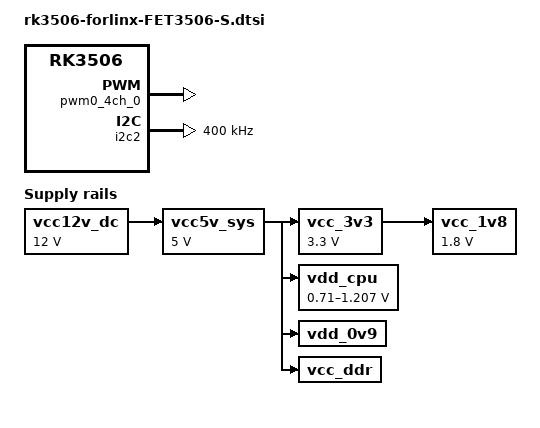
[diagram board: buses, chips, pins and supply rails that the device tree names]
// SPDX-License-Identifier: (GPL-2.0+ OR MIT)
/*
 * Copyright (c) 2024 Rockchip Electronics Co., Ltd.
 */

#include "rk3506.dtsi"

/ {
	vcc12v_dc: vcc12v-dc {
		compatible = "regulator-fixed";
		regulator-name = "vcc12v_dc";
		regulator-always-on;
		regulator-boot-on;
		regulator-min-microvolt = <12000000>;
		regulator-max-microvolt = <12000000>;
	};

	vcc5v_sys: vcc5v-sys {
		compatible = "regulator-fixed";
		regulator-name = "vcc5v_sys";
		regulator-always-on;
		regulator-boot-on;
		regulator-min-microvolt = <5000000>;
		regulator-max-microvolt = <5000000>;
		vin-supply = <&vcc12v_dc>;
	};

	vcc_3v3: vcc-3v3 {
		compatible = "regulator-fixed";
		regulator-name = "vcc_3v3";
		regulator-always-on;
		regulator-boot-on;
		regulator-min-microvolt = <3300000>;
		regulator-max-microvolt = <3300000>;
		vin-supply = <&vcc5v_sys>;
	};

	vcc_1v8: vcc-1v8 {
		compatible = "regulator-fixed";
		regulator-name = "vcc_1v8";
		regulator-always-on;
		regulator-boot-on;
		regulator-min-microvolt = <1800000>;
		regulator-max-microvolt = <1800000>;
		vin-supply = <&vcc_3v3>;
	};

	vdd_cpu: vdd-cpu {
		compatible = "pwm-regulator";
		pwms = <&pwm0_4ch_0 0 5000 1>;
		regulator-name = "vdd_cpu";
		regulator-min-microvolt = <710000>;
		regulator-max-microvolt = <1207000>;
		regulator-init-microvolt = <1011000>;
		regulator-always-on;
		regulator-boot-on;
		regulator-settling-time-up-us = <250>;
		vin-supply = <&vcc5v_sys>;
	};

	vdd_0v9: vdd-0v9 {
		compatible = "regulator-fixed";
		regulator-name = "vdd_0v9";
		regulator-always-on;
		regulator-boot-on;
		vin-supply = <&vcc5v_sys>;
	};

	vcc_ddr: vcc-ddr {
		compatible = "regulator-fixed";
		regulator-name = "vcc_ddr";
		regulator-always-on;
		regulator-boot-on;
		vin-supply = <&vcc5v_sys>;
	};
};

&cpu0 {
	cpu-supply = <&vdd_cpu>;
};

&cma {
	size = <0x1600000>;
};

&pwm0_4ch_0 {
	pinctrl-names = "active";
	pinctrl-0 = <&rm_io21_pwm0_ch0>;
	status = "okay";
};

&i2c2 {
	clock-frequency = <400000>;
	pinctrl-names = "default";
	pinctrl-0 = <&rm_io4_i2c2_scl &rm_io5_i2c2_sda>;
	status = "okay";
};
